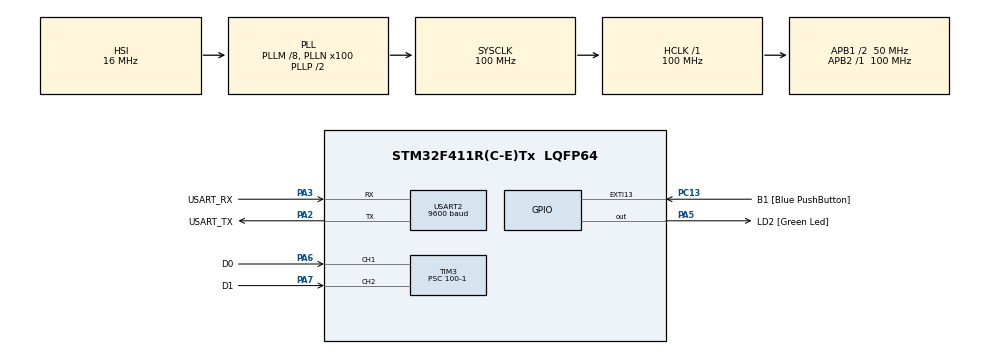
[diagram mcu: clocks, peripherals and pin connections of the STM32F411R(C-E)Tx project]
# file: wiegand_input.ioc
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Mcu.Family=STM32F4
Mcu.Name=STM32F411R(C-E)Tx
Mcu.Package=LQFP64
NVIC.PriorityGroup=NVIC_PRIORITYGROUP_0
NVIC.TIM3_IRQn=true\:0\:0\:false\:false\:true\:true\:true\:true
PA13.GPIO_Label=TMS
PA13.Mode=Serial_Wire
PA13.Signal=SYS_JTMS-SWDIO
PA14.GPIO_Label=TCK
PA14.Mode=Serial_Wire
PA14.Signal=SYS_JTCK-SWCLK
PA2.GPIO_Label=USART_TX
PA2.Mode=Asynchronous
PA2.Signal=USART2_TX
PA3.GPIO_Label=USART_RX
PA3.Mode=Asynchronous
PA3.Signal=USART2_RX
PA5.GPIO_Label=LD2 [Green Led]
PA5.Signal=GPIO_Output
PA6.GPIO_Label=D0
PA6.Signal=S_TIM3_CH1
PA7.GPIO_Label=D1
PA7.Signal=S_TIM3_CH2
PB3.GPIO_Label=SWO
PB3.Signal=SYS_JTDO-SWO
PC13-ANTI_TAMP.GPIO_Label=B1 [Blue PushButton]
PC13-ANTI_TAMP.GPIO_ModeDefaultEXTI=GPIO_MODE_IT_FALLING
PC13-ANTI_TAMP.Signal=GPXTI13
PC14-OSC32_IN.Mode=LSE-External-Oscillator
PC14-OSC32_IN.Signal=RCC_OSC32_IN
PC15-OSC32_OUT.Mode=LSE-External-Oscillator
PC15-OSC32_OUT.Signal=RCC_OSC32_OUT
PH0\ -\ OSC_IN.Mode=HSE-External-Clock-Source
PH0\ -\ OSC_IN.Signal=RCC_OSC_IN
PH1\ -\ OSC_OUT.Mode=HSE-External-Clock-Source
PH1\ -\ OSC_OUT.Signal=RCC_OSC_OUT
ProjectManager.HeapSize=0x200
ProjectManager.StackSize=0x400
ProjectManager.TargetToolchain=STM32CubeIDE
RCC.48MHZClocksFreq_Value=50000000
RCC.AHBFreq_Value=100000000
RCC.APB1CLKDivider=RCC_HCLK_DIV2
RCC.APB1Freq_Value=50000000
RCC.APB1TimFreq_Value=100000000
RCC.APB2Freq_Value=100000000
RCC.APB2TimFreq_Value=100000000
RCC.CortexFreq_Value=100000000
RCC.FLatency-AdvancedSettings=FLASH_LATENCY_3
RCC.HCLKFreq_Value=100000000
RCC.HSE_VALUE=8000000
RCC.HSI_VALUE=16000000
RCC.PLLM=8
RCC.PLLN=100
RCC.SYSCLKFreq_VALUE=100000000
RCC.SYSCLKSource=RCC_SYSCLKSOURCE_PLLCLK
RCC.VCOOutputFreq_Value=200000000
SH.S_TIM3_CH1.0=TIM3_CH1,Input_Capture1_from_TI1
SH.S_TIM3_CH2.0=TIM3_CH2,Input_Capture2_from_TI2
TIM3.Channel-Input_Capture1_from_TI1=TIM_CHANNEL_1
TIM3.Channel-Input_Capture2_from_TI2=TIM_CHANNEL_2
TIM3.ICPolarity_CH1=TIM_INPUTCHANNELPOLARITY_FALLING
TIM3.ICPolarity_CH2=TIM_INPUTCHANNELPOLARITY_FALLING
TIM3.Prescaler=100-1
USART2.BaudRate=9600
USART2.VirtualMode=VM_ASYNC
board=NUCLEO-F411RE

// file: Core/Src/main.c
/* USER CODE BEGIN Header */
/**
  ******************************************************************************
  * @file           : main.c
  * @brief          : Main program body
  ******************************************************************************
  * @attention
  *
  * Copyright (c) 2022 STMicroelectronics.
  * All rights reserved.
  *
  * This software is licensed under terms that can be found in the LICENSE file
  * in the root directory of this software component.
  * If no LICENSE file comes with this software, it is provided AS-IS.
  *
  ******************************************************************************
  */
/* USER CODE END Header */
#include "main.h"

 TIM_HandleTypeDef htim3;

UART_HandleTypeDef huart2;

/* USER CODE BEGIN PV */
uint32_t valor1=0, valor2=0, periodo=0,valor3=0, valor4=0, periodo2=0;
uint8_t led1_PV=1, led2_PV=1;
volatile int16_t cuentaBits = 0;
volatile uint32_t tarjetaTempAlto = 0;
volatile uint32_t tarjetaTemp = 0;
volatile uint32_t ultimoWiegand = 0;
int16_t wiegandType = 0;
uint32_t codigo = 0;
/* USER CODE END PV */

void SystemClock_Config(void);
static void MX_GPIO_Init(void);
static void MX_USART2_UART_Init(void);
static void MX_TIM3_Init(void);
/* USER CODE BEGIN PFP */
uint32_t GetCardId(volatile uint32_t *codehigh, volatile uint32_t *codelow, uint8_t bitlength);
uint8_t wiegand_disponible();
/* USER CODE END PFP */

int main(void)
{

  /* MCU Configuration--------------------------------------------------------*/

  /* Reset of all peripherals, Initializes the Flash interface and the Systick. */
  HAL_Init();

  /* Configure the system clock */
  SystemClock_Config();

  /* Initialize all configured peripherals */
  MX_GPIO_Init();
  MX_USART2_UART_Init();
  MX_TIM3_Init();
  /* USER CODE BEGIN 2 */
  HAL_TIM_IC_Start_IT(&htim3, TIM_CHANNEL_1);
  HAL_TIM_IC_Start_IT(&htim3, TIM_CHANNEL_2);
  /* USER CODE END 2 */

  /* Infinite loop */
  while (1)
  {

    /* USER CODE BEGIN 3 */
	  //imprimir_serial(cuentaBits);
	  if (wiegand_disponible()) {
		  imprimir_serial(codigo);
	  }
	  //HAL_Delay(500);
  }
  /* USER CODE END 3 */
}

void SystemClock_Config(void)
{
  RCC_OscInitTypeDef RCC_OscInitStruct = {0};
  RCC_ClkInitTypeDef RCC_ClkInitStruct = {0};

  /** Configure the main internal regulator output voltage
  */
  __HAL_RCC_PWR_CLK_ENABLE();
  __HAL_PWR_VOLTAGESCALING_CONFIG(PWR_REGULATOR_VOLTAGE_SCALE1);

  /** Initializes the RCC Oscillators according to the specified parameters
  * in the RCC_OscInitTypeDef structure.
  */
  RCC_OscInitStruct.OscillatorType = RCC_OSCILLATORTYPE_HSI;
  RCC_OscInitStruct.HSIState = RCC_HSI_ON;
  RCC_OscInitStruct.HSICalibrationValue = RCC_HSICALIBRATION_DEFAULT;
  RCC_OscInitStruct.PLL.PLLState = RCC_PLL_ON;
  RCC_OscInitStruct.PLL.PLLSource = RCC_PLLSOURCE_HSI;
  RCC_OscInitStruct.PLL.PLLM = 8;
  RCC_OscInitStruct.PLL.PLLN = 100;
  RCC_OscInitStruct.PLL.PLLP = RCC_PLLP_DIV2;
  RCC_OscInitStruct.PLL.PLLQ = 4;
  if (HAL_RCC_OscConfig(&RCC_OscInitStruct) != HAL_OK)
  {
    Error_Handler();
  }

  /** Initializes the CPU, AHB and APB buses clocks
  */
  RCC_ClkInitStruct.ClockType = RCC_CLOCKTYPE_HCLK|RCC_CLOCKTYPE_SYSCLK
                              |RCC_CLOCKTYPE_PCLK1|RCC_CLOCKTYPE_PCLK2;
  RCC_ClkInitStruct.SYSCLKSource = RCC_SYSCLKSOURCE_PLLCLK;
  RCC_ClkInitStruct.AHBCLKDivider = RCC_SYSCLK_DIV1;
  RCC_ClkInitStruct.APB1CLKDivider = RCC_HCLK_DIV2;
  RCC_ClkInitStruct.APB2CLKDivider = RCC_HCLK_DIV1;

  if (HAL_RCC_ClockConfig(&RCC_ClkInitStruct, FLASH_LATENCY_3) != HAL_OK)
  {
    Error_Handler();
  }
}

static void MX_TIM3_Init(void)
{

  TIM_MasterConfigTypeDef sMasterConfig = {0};
  TIM_IC_InitTypeDef sConfigIC = {0};

  htim3.Instance = TIM3;
  htim3.Init.Prescaler = 100-1;
  htim3.Init.CounterMode = TIM_COUNTERMODE_UP;
  htim3.Init.Period = 65535;
  htim3.Init.ClockDivision = TIM_CLOCKDIVISION_DIV1;
  htim3.Init.AutoReloadPreload = TIM_AUTORELOAD_PRELOAD_DISABLE;
  if (HAL_TIM_IC_Init(&htim3) != HAL_OK)
  {
    Error_Handler();
  }
  sMasterConfig.MasterOutputTrigger = TIM_TRGO_RESET;
  sMasterConfig.MasterSlaveMode = TIM_MASTERSLAVEMODE_DISABLE;
  if (HAL_TIMEx_MasterConfigSynchronization(&htim3, &sMasterConfig) != HAL_OK)
  {
    Error_Handler();
  }
  sConfigIC.ICPolarity = TIM_INPUTCHANNELPOLARITY_FALLING;
  sConfigIC.ICSelection = TIM_ICSELECTION_DIRECTTI;
  sConfigIC.ICPrescaler = TIM_ICPSC_DIV1;
  sConfigIC.ICFilter = 0;
  if (HAL_TIM_IC_ConfigChannel(&htim3, &sConfigIC, TIM_CHANNEL_1) != HAL_OK)
  {
    Error_Handler();
  }
  if (HAL_TIM_IC_ConfigChannel(&htim3, &sConfigIC, TIM_CHANNEL_2) != HAL_OK)
  {
    Error_Handler();
  }

}

static void MX_USART2_UART_Init(void)
{

  huart2.Instance = USART2;
  huart2.Init.BaudRate = 9600;
  huart2.Init.WordLength = UART_WORDLENGTH_8B;
  huart2.Init.StopBits = UART_STOPBITS_1;
  huart2.Init.Parity = UART_PARITY_NONE;
  huart2.Init.Mode = UART_MODE_TX_RX;
  huart2.Init.HwFlowCtl = UART_HWCONTROL_NONE;
  huart2.Init.OverSampling = UART_OVERSAMPLING_16;
  if (HAL_UART_Init(&huart2) != HAL_OK)
  {
    Error_Handler();
  }

}

static void MX_GPIO_Init(void)
{
  GPIO_InitTypeDef GPIO_InitStruct = {0};

  /* GPIO Ports Clock Enable */
  __HAL_RCC_GPIOC_CLK_ENABLE();
  __HAL_RCC_GPIOH_CLK_ENABLE();
  __HAL_RCC_GPIOA_CLK_ENABLE();
  __HAL_RCC_GPIOB_CLK_ENABLE();

  /*Configure GPIO pin Output Level */
  HAL_GPIO_WritePin(LD2_GPIO_Port, LD2_Pin, GPIO_PIN_RESET);

  /*Configure GPIO pin : B1_Pin */
  GPIO_InitStruct.Pin = B1_Pin;
  GPIO_InitStruct.Mode = GPIO_MODE_IT_FALLING;
  GPIO_InitStruct.Pull = GPIO_NOPULL;
  HAL_GPIO_Init(B1_GPIO_Port, &GPIO_InitStruct);

  /*Configure GPIO pin : LD2_Pin */
  GPIO_InitStruct.Pin = LD2_Pin;
  GPIO_InitStruct.Mode = GPIO_MODE_OUTPUT_PP;
  GPIO_InitStruct.Pull = GPIO_NOPULL;
  GPIO_InitStruct.Speed = GPIO_SPEED_FREQ_LOW;
  HAL_GPIO_Init(LD2_GPIO_Port, &GPIO_InitStruct);

}

/* USER CODE BEGIN 4 */
void imprimir_serial(uint32_t numero) {
	char buffer[50] ="";
	sprintf( buffer, "\nlectura HEX=0x%lX.DEC= %ld\n\r", numero, numero );
	HAL_UART_Transmit(&huart2, (uint8_t *)buffer, sizeof(buffer), HAL_MAX_DELAY);
}
void HAL_TIM_IC_CaptureCallback(TIM_HandleTypeDef *htim)
{
	if (htim-> Channel == HAL_TIM_ACTIVE_CHANNEL_1)
	{
		if(led1_PV==1)
		{
			led1_PV=0;
			if (led2_PV==1) {
				LeerD0();
			}
			__HAL_TIM_SET_CAPTUREPOLARITY(htim, TIM_CHANNEL_1,TIM_INPUTCHANNELPOLARITY_RISING);
		}
		else if (led1_PV==0)
		{
			led1_PV=1;
			__HAL_TIM_SET_CAPTUREPOLARITY(htim, TIM_CHANNEL_1,TIM_INPUTCHANNELPOLARITY_FALLING);
		}

	}
	else if (htim-> Channel == HAL_TIM_ACTIVE_CHANNEL_2)
	{
		if(led2_PV==1)
		{
			led2_PV=0;
			LeerD1();
			__HAL_TIM_SET_CAPTUREPOLARITY(htim, TIM_CHANNEL_2,TIM_INPUTCHANNELPOLARITY_RISING);
		}
		else if (led2_PV==0)
		{
			led2_PV=1;
			__HAL_TIM_SET_CAPTUREPOLARITY(htim, TIM_CHANNEL_2,TIM_INPUTCHANNELPOLARITY_FALLING);
		}
	}
}
void LeerD0() {
	cuentaBits++;
	if (cuentaBits > 31) {
		tarjetaTempAlto |= ((0x80000000 & tarjetaTemp) >> 31);	//	shift value to high bits
		tarjetaTempAlto <<= 1;
		tarjetaTemp <<= 1;
	}
	else {
		tarjetaTemp <<= 1;		// D0 represent binary 0, so just left shift card data
	}
	ultimoWiegand = HAL_GetTick();	// Keep track of last wiegand bit received
}
void LeerD1() {
	cuentaBits++;
	if (cuentaBits > 31) {
		tarjetaTempAlto |= ((0x80000000 & tarjetaTemp) >> 31);	// shift value to high bits
		tarjetaTempAlto <<= 1;
		tarjetaTemp |= 1;
		tarjetaTemp <<= 1;
	}
	else {
		tarjetaTemp |= 1;			// D1 represent binary 1, so OR card data with 1 then
		tarjetaTemp <<= 1;		// left shift card data
	}
	ultimoWiegand = HAL_GetTick();	// Keep track of last wiegand bit received
}
uint8_t wiegand_disponible() {
	uint32_t tarjetaID;
	uint32_t tiempo_wig = HAL_GetTick();
	if((tiempo_wig - ultimoWiegand) > 50)
	{
		if((cuentaBits == 24) || (cuentaBits == 26) || (cuentaBits == 32) || (cuentaBits == 34))
		{
			tarjetaTemp >>= 1; // shift right 1 bit to get back the real value - interrupt done 1 left shift in advance
			if(cuentaBits > 32) // bit count more than 32 bits, shift high bits right to make adjustment
			{
				tarjetaTempAlto >>= 1;
			}
			tarjetaID = GetCardId(&tarjetaTempAlto, &tarjetaTemp, cuentaBits);
			wiegandType = cuentaBits;
			cuentaBits = 0;
			tarjetaTemp = 0;
			tarjetaTempAlto = 0;
			codigo = tarjetaID;
			return 1;
		}
		else
		{
			// well time over 25 ms and bitCount !=8 , !=26, !=34 , must be noise or nothing then.
			ultimoWiegand = tiempo_wig;
			cuentaBits = 0;
			tarjetaTemp = 0;
			tarjetaTempAlto = 0;
			return 0;
		}
	}
	else {
		return 0;
	}
}
uint32_t GetCardId(volatile uint32_t *codehigh, volatile uint32_t *codelow, uint8_t bitlength)
{

	if(bitlength == 26)								// EM tag
	{
		return (*codelow & 0x1FFFFFE) >> 1;
	}

	if(bitlength == 34)								// Mifare
	{
		*codehigh = *codehigh & 0x03;				// only need the 2 LSB of the codehigh
		*codehigh <<= 30;							// shift 2 LSB to MSB
		*codelow >>= 1;
		return *codehigh | *codelow;
	}

	return *codelow;								// EM tag or Mifare without parity bits
}

/* USER
/* USER CODE END 4 */

void Error_Handler(void)
{
  __disable_irq();
  while (1)
  {
  }
}
